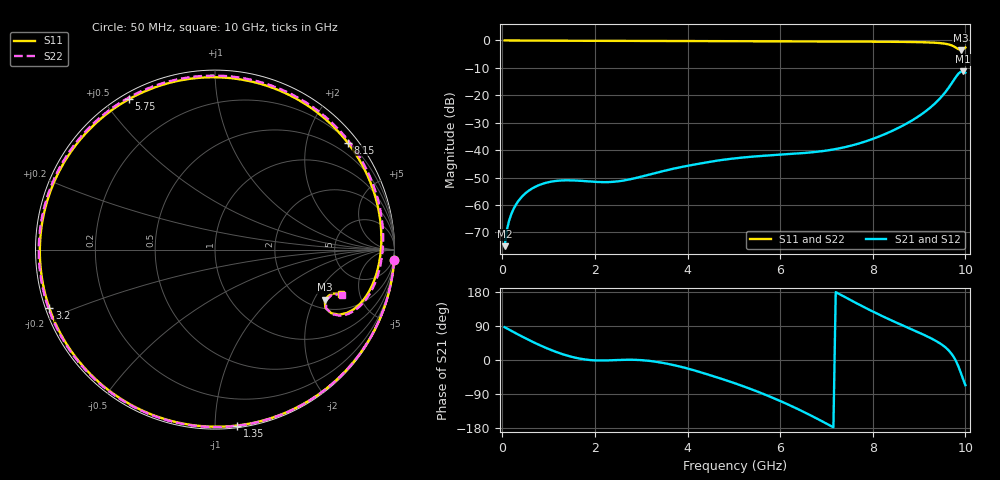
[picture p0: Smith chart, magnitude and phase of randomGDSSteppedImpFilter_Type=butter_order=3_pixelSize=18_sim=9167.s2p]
! freq	dB(S11)	phase(S11)	dB(S12)	phase(S12)
!  dB(S21)	phase(S21)	dB(S22)	phase(S22)
!S-par simulation data
#  GHz  S  DB  R 50
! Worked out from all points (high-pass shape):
!   200 points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, 50 MHz to 10 GHz, reference 50 ohm
!   highest |S21| = -11.30 dB at 9.95 GHz (marker M1); lowest = -75.0 dB at 50 MHz (marker M2)
!   |S21| within 3 dB of the highest: 9.756 GHz to end of sweep
!   lowest |S11| = -3.4 dB at 9.9 GHz (marker M3), VSWR 5.10, Z = 120 - j122 ohm
!   |S11| at or under -10 dB: nowhere
!   |S22| runs from -3.4 to 0.0 dB; largest |S21 - S12| = 0
!   S11 on the Smith chart (normalised r, x): 50 MHz: 0, -34; 1.35 GHz: 0.01, -1.13; 3.2 GHz: 0.01, -0.17; 5.75 GHz: 0.02, +0.58; 8.15 GHz: 0.23, +2.81; 10 GHz: 2.99, -3.26
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0.05  -0.00 -3.4  -75.00 86.6  -75.00 86.6  -0.00 -3.4
0.1  -0.01 -6.7  -69.00 83.3  -69.00 83.3  -0.01 -6.7
0.15  -0.01 -10.0  -65.52 79.9  -65.52 79.9  -0.01 -10.0
0.4  -0.04 -26.4  -57.41 63.6  -57.41 63.6  -0.04 -26.4
0.9  -0.08 -57.6  -52.10 34.2  -52.10 34.2  -0.07 -57.6
1.35  -0.11 -82.8  -50.99 13.5  -50.99 13.5  -0.09 -82.8
1.75  -0.13 -102.8  -51.24 2.1  -51.24 2.1  -0.11 -102.8
2.45  -0.16 -133.0  -51.46 -0.3  -51.46 -0.3  -0.13 -133.0
3.2  -0.19 -160.5  -48.80 -2.7  -48.80 -2.7  -0.14 -160.5
3.4  -0.20 -167.2  -47.94 -6.2  -47.94 -6.2  -0.15 -167.3
4.2  -0.23 167.2  -45.08 -29.3  -45.08 -29.3  -0.17 167.1
5.05  -0.27 141.3  -42.93 -62.6  -42.93 -62.6  -0.20 141.2
5.75  -0.30 119.9  -41.91 -95.1  -41.91 -95.1  -0.23 119.8
6.7  -0.35 89.6  -40.75 -148.7  -40.75 -148.7  -0.27 89.5
7.4  -0.39 65.9  -38.89 166.0  -38.89 166.0  -0.31 65.8
8.15  -0.45 38.9  -34.92 119.0  -34.92 119.0  -0.36 38.7
8.35  -0.48 31.4  -33.50 107.5  -33.50 107.5  -0.39 31.2
9.25  -0.75 -4.7  -24.36 57.8  -24.36 57.8  -0.66 -4.9
9.7  -1.78 -25.7  -15.73 16.5  -15.73 16.5  -1.69 -25.9
9.9  -3.45 -24.5  -11.42 -33.3  -11.42 -33.3  -3.36 -24.7
9.95  -3.21 -20.7  -11.30 -50.4  -11.30 -50.4  -3.11 -20.9
10  -2.60 -19.3  -11.76 -66.5  -11.76 -66.5  -2.50 -19.5
